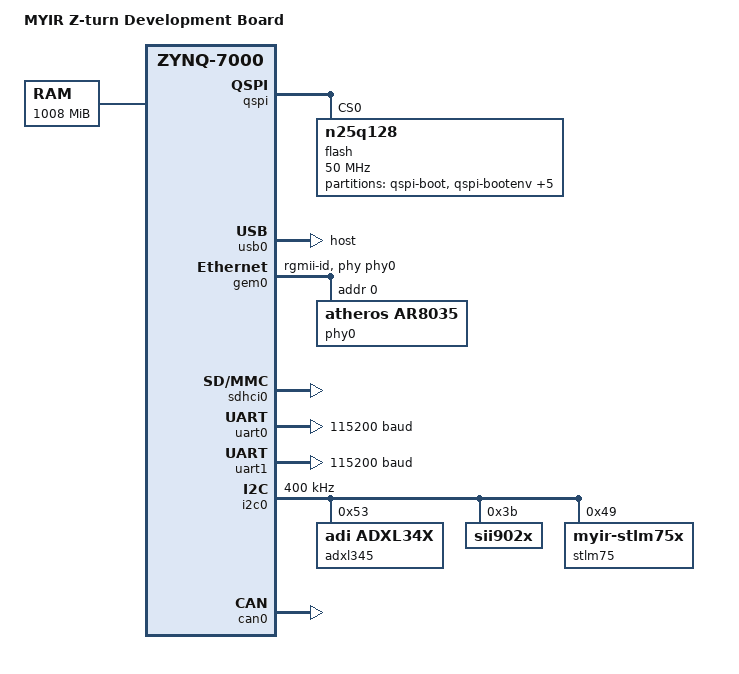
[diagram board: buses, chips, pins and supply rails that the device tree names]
/*
 *  Copyright (C) 2011 - 2014 Xilinx
 *  Copyright (C) 2012 National Instruments Corp.
 *
 * This software is licensed under the terms of the GNU General Public
 * License version 2, as published by the Free Software Foundation, and
 * may be copied, distributed, and modified under those terms.
 *
 * This program is distributed in the hope that it will be useful,
 * but WITHOUT ANY WARRANTY; without even the implied warranty of
 * MERCHANTABILITY or FITNESS FOR A PARTICULAR PURPOSE.  See the
 * GNU General Public License for more details.
 */
/dts-v1/;
/include/ "zynq-7000.dtsi"


/ {
	model = "MYIR Z-turn Development Board";
	compatible = "myir,zynq-zturn", "xlnx,zynq-7000";

	aliases {
		ethernet0 = &gem0;
		serial0 = &uart1;
		serial1 = &uart0;
		spi0 = &qspi;
	};

	memory {
		device_type = "memory";
		reg = <0x0 0x3F000000>; // Reserved 256MB for xylonfb driver
	};

	chosen {
		bootargs = "console=ttyPS0,115200 root=/dev/ram rw earlyprintk";
		linux,stdout-path = "/amba/serial@e0001000";
    #address-cells = <0x1>;
    #size-cells = <0x1>;
    ranges;
    framebuffer0: framebuffer@3F000000 {
            compatible = "simple-framebuffer";
            reg = <0x3F000000 (1920*1080*4)>;
            width = <1920>;
            height = <1080>;
            stride = <(1920*4)>;
            format = "a8r8g8b8";
            status = "okay";
    };
	};
};

&gpio0 {
    emio-gpio-width = <64>;
    gpio-mask-high = <0x0>;
    gpio-mask-low = <0x5600>;
    xlnx,emio-gpio-width = <0x40>;
    xlnx,mio-gpio-mask = <0x5600>;
};

&qspi {
	status = "okay";
	is-dual = <0>;
	num-cs = <1>;
	xlnx,fb-clk = <0x1>;
	xlnx,qspi-mode = <0x0>;
	flash@0 {
		compatible = "n25q128";
		reg = <0x0>;
		spi-tx-bus-width = <1>;
		spi-rx-bus-width = <4>;
		spi-max-frequency = <50000000>;
		#address-cells = <1>;
		#size-cells = <1>;
		partition@qspi-boot {
			label = "qspi-boot";
			reg = <0x0 0x080000>;
		};
		partition@qspi-bootenv {
			label = "qspi-bootenv";
			reg = <0x080000 0x020000>;
		};
		partition@qspi-bitstream {
			label = "qspi-bitstream";
			reg = <0x0A0000 0x460000>;
		};
		partition@qspi-kernel {
			label = "qspi-kernel";
			reg = <0x500000 0x480000>;
		};
		partition@qspi-devicetree {
			label = "qspi-devicetree";
			reg = <0x980000 0x010000>;
		};
		partition@qspi-rootfs {
			label = "qspi-rootfs";
			reg = <0x990000 0x600000>;
		};
		partition@qspi-data {
			label = "data";
			reg = <0xF90000 0x070000>;
		};
	};
};

&usb0 {
	status = "okay";
	dr_mode = "host";
	phy_type = "ulpi";
};

&gem0 {
    compatible = "cdns,gem";
    reg = <0xe000b000 0x4000>;
    status = "okay";
    interrupts = <0 22 4>;
    interrupt-parent = <&intc>;
    clocks = <&clkc 30>, <&clkc 30>, <&clkc 13>;
    clock-names = "pclk", "hclk", "tx_clk";
    phy-mode = "rgmii-id";
    phy-handle = <&phy0>;
    phy0: phy@0 {
        compatible = "atheros,ar8035";
        device_type = "ethernet-phy";
        reg = <0>;
    };
};

&sdhci0 {
	status = "okay";
    xlnx,has-cd = <0x1>;
    xlnx,has-power = <0x0>;
    xlnx,has-wp = <0x1>;
};

&uart0 {
	status = "okay";
    current-speed = <115200>;
    port-number = <1>;
    xlnx,has-modem = <0x0>;
};

&uart1 {
	status = "okay";
    current-speed = <115200>;
    port-number = <0>;
    xlnx,has-modem = <0x0>;
};

&i2c0 {
	status = "okay";
//  bus-id = <0x0>;
    clock-frequency = <400000>;
    xlnx,has-interrupt = <0x1>;

    adxl345@53 {
        compatible = "adi,adxl34x","adxl34x";
        reg = <0x53>;
        interrupt-parent = <&intc>;
        interrupts = < 0 31 4 >;
    };

    sii902x@3b {
        compatible = "sii902x";
        reg = <0x3b>;
        interrupt-parent = <&intc>;
        interrupts = < 0 29 4 >;
		mode_str = "1920x1080";
		bits-per-pixel = <16>;
    };

	stlm75@49 {
		status = "okay";
		compatible = "myir-stlm75x";
		reg = <0x49>;
		interrupts = < 0 32 4 >;
	};
};

/*
&i2c1 {
	status = "okay";
    clock-frequency = <400000>;
    xlnx,has-interrupt = <0x1>;

	ft0x5x_ts@38 {
        compatible = "ft5x06_ts";
        reg = <0x38>;
        tp_int = <&gpio0 106 1>;
        tp_resetn = <&gpio0 107 1>;
	    polling_mode = /bits/ 8 <0>;
        multi_touch = /bits/ 8 <0>;
    };
};
*/

&can0 {
	status = "okay";
};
